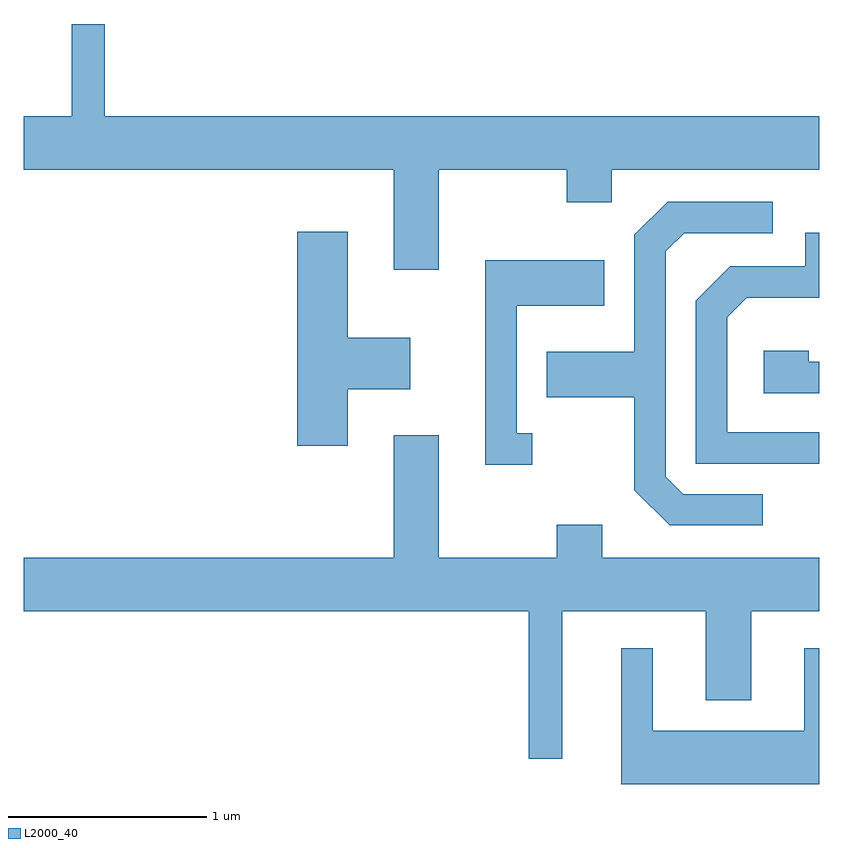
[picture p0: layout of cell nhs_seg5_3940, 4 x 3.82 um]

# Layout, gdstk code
import gdstk
lib = gdstk.Library(unit=1e-6, precision=1e-09)
def P(c, l, *ps):  # polygons
    for p in ps: c.add(gdstk.Polygon(p, *l))
L2000_40 = (2000, 40)

nhs_seg5_3940 = lib.new_cell('nhs_seg5_3940')
P(nhs_seg5_3940, L2000_40, [(303.699,1481.216),(304.341,1481.216),(304.341,1481.051),(304.569,1481.051),(304.569,1481.216),(305.611,1481.216),(305.611,1481.484),(302.019,1481.484),(302.019,1481.948),(301.851,1481.948),(301.851,1481.484),(301.611,1481.484),(301.611,1481.216),(303.471,1481.216),(303.471,1480.711),(303.699,1480.711)],
  [(305.328,1479.584),(304.927,1479.584),(304.839,1479.672),(304.839,1480.804),(304.932,1480.896),(305.378,1480.896),(305.378,1481.054),(304.849,1481.054),(304.681,1480.887),(304.681,1480.299),(304.241,1480.299),(304.241,1480.071),(304.681,1480.071),(304.681,1479.604),(304.859,1479.426),(305.328,1479.426)],
  [(303.239,1480.111),(303.554,1480.111),(303.554,1480.369),(303.239,1480.369),(303.239,1480.904),(302.986,1480.904),(302.986,1479.826),(303.239,1479.826)],
  [(305.611,1479.894),(305.149,1479.894),(305.149,1480.474),(305.247,1480.571),(305.611,1480.571),(305.611,1480.899),(305.541,1480.899),(305.541,1480.729),(305.164,1480.729),(304.991,1480.557),(304.991,1479.736),(305.611,1479.736)],
  [(304.168,1479.889),(304.089,1479.889),(304.089,1480.531),(304.529,1480.531),(304.529,1480.759),(303.931,1480.759),(303.931,1479.731),(304.168,1479.731)],
  [(305.611,1480.249),(305.559,1480.249),(305.559,1480.304),(305.331,1480.304),(305.331,1480.091),(305.611,1480.091)],
  [(304.319,1478.996),(305.041,1478.996),(305.041,1478.546),(305.269,1478.546),(305.269,1478.996),(305.611,1478.996),(305.611,1479.264),(304.519,1479.264),(304.519,1479.429),(304.291,1479.429),(304.291,1479.264),(303.699,1479.264),(303.699,1479.879),(303.471,1479.879),(303.471,1479.264),(301.611,1479.264),(301.611,1478.996),(304.151,1478.996),(304.151,1478.253),(304.319,1478.253)],
  [(305.611,1478.808),(305.536,1478.808),(305.536,1478.394),(304.774,1478.394),(304.774,1478.808),(304.616,1478.808),(304.616,1478.126),(305.611,1478.126)])

lib.write_gds('nhs_seg5_3940.gds')
